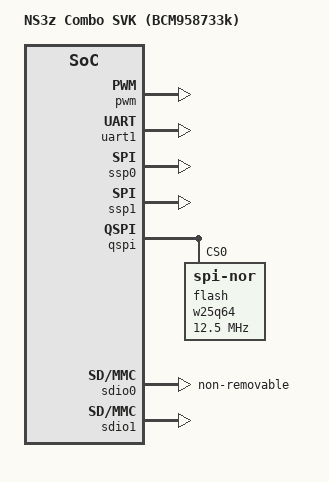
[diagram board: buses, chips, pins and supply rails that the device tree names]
// SPDX-License-Identifier: (GPL-2.0 or BSD-3-Clause)
/*
 *  Copyright(c) 2019 Broadcom
 */

/dts-v1/;

#include "ns3z.dtsi"

/ {
	model = "NS3z Combo SVK (BCM958733k)";

	aliases {
		serial0 = &uart1;
		serial1 = &uart0;
	};

	chosen {
		stdout-path = "serial0:115200n8";
	};
};

&pwm {
	status = "okay";
};

&uart1 {
	status = "okay";
};

&ssp0 {
	cs-gpios = <&gpio_hsls 34 0>;
	status = "okay";
};

&ssp1 {
	cs-gpios = <&gpio_hsls 96 0>;
	status = "okay";
};

&qspi {
	pinctrl-names = "default";
	pinctrl-0 = <&qspi_pins>;
	bspi-sel = <0>;
	status = "okay";

	flash: w25q64@0 {
		#address-cells = <1>;
		#size-cells = <1>;
		compatible = "jedec,spi-nor";
		reg = <0x0>;
		spi-max-frequency = <12500000>;
	};
};

&sdio0 {
	non-removable;
	full-pwr-cycle;
	status = "okay";
};

&sdio1 {
	full-pwr-cycle;
	status = "okay";
};
